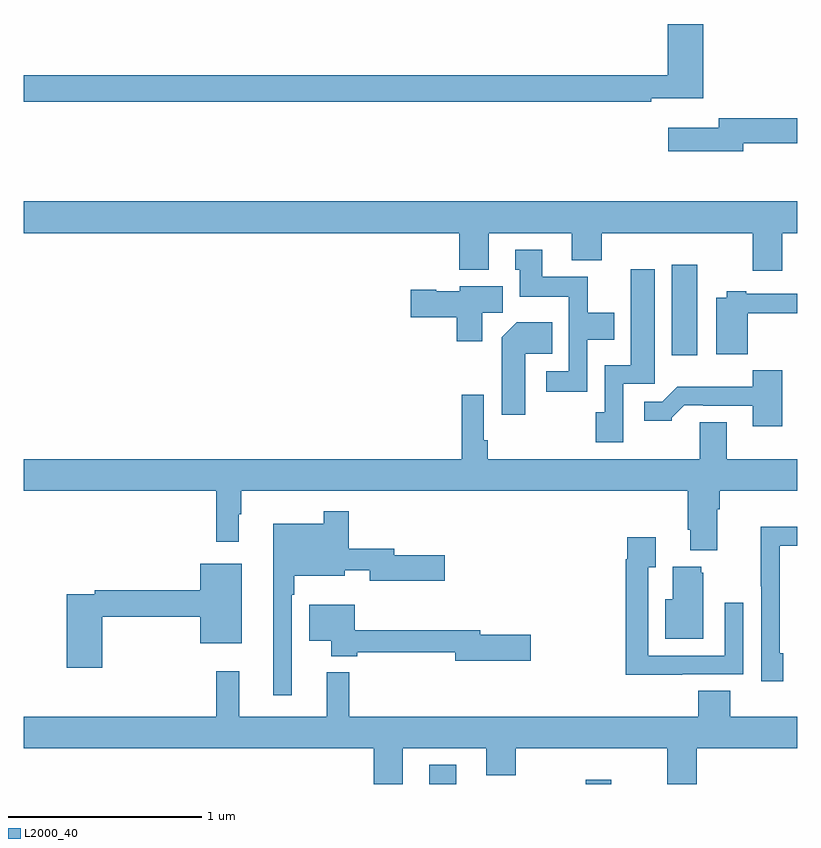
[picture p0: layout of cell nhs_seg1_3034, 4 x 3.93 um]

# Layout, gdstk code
import gdstk
lib = gdstk.Library(unit=1e-6, precision=1e-09)
def R(c, l, rs):  # rectangles x0, y0, x1, y1
    for r in rs: c.add(gdstk.rectangle(r[:2], r[2:], *l))
def P(c, l, *ps):  # polygons
    for p in ps: c.add(gdstk.Polygon(p, *l))
L2000_40 = (2000, 40)

nhs_seg1_3034 = lib.new_cell('nhs_seg1_3034')
R(nhs_seg1_3034, L2000_40, [(277.097,566.199,277.237,566.299), (277.907,566.199,278.038,566.221), (278.351,568.416,278.482,568.885)])
P(nhs_seg1_3034, L2000_40, [(278.246,569.747),(278.513,569.747),(278.513,570.13),(278.33,570.13),(278.33,569.864),(275,569.864),(275,569.728),(278.246,569.728)],
  [(278.722,569.514),(279,569.514),(279,569.642),(278.594,569.642),(278.594,569.593),(278.334,569.593),(278.334,569.471),(278.722,569.471)],
  [(278.924,569.048),(279,569.048),(279,569.212),(275,569.212),(275,569.048),(277.253,569.048),(277.253,568.859),(277.405,568.859),(277.405,569.048),(277.835,569.048),(277.835,568.907),(277.988,568.907),(277.988,569.048),(278.771,569.048),(278.771,568.854),(278.924,568.854)],
  [(277.914,568.496),(278.053,568.496),(278.053,568.636),(277.917,568.636),(277.917,568.822),(277.681,568.822),(277.681,568.963),(277.541,568.963),(277.541,568.86),(277.565,568.86),(277.565,568.718),(277.818,568.718),(277.818,568.335),(277.701,568.335),(277.701,568.227),(277.914,568.227)],
  [(278.1,568.269),(278.263,568.269),(278.263,568.861),(278.138,568.861),(278.138,568.366),(278.004,568.366),(278.004,568.122),(277.957,568.122),(277.957,567.966),(278.1,567.966)],
  [(277.372,568.636),(277.477,568.636),(277.477,568.774),(277.254,568.774),(277.254,568.747),(277.134,568.747),(277.134,568.755),(277.002,568.755),(277.002,568.613),(277.238,568.613),(277.238,568.488),(277.372,568.488)],
  [(278.744,568.633),(279,568.633),(279,568.734),(278.737,568.734),(278.737,568.747),(278.637,568.747),(278.637,568.714),(278.582,568.714),(278.582,568.421),(278.744,568.421)],
  [(277.594,568.424),(277.733,568.424),(277.733,568.588),(277.55,568.588),(277.472,568.51),(277.472,568.11),(277.594,568.11)],
  [(278.924,568.339),(278.769,568.339),(278.769,568.255),(278.38,568.255),(278.301,568.176),(278.208,568.176),(278.208,568.079),(278.352,568.079),(278.352,568.094),(278.416,568.158),(278.515,568.158),(278.515,568.155),(278.771,568.155),(278.771,568.05),(278.924,568.05)],
  [(278.587,567.62),(278.6,567.62),(278.6,567.716),(279,567.716),(279,567.88),(278.635,567.88),(278.635,568.07),(278.495,568.07),(278.495,567.88),(277.4,567.88),(277.4,567.976),(277.38,567.976),(277.38,568.213),(277.264,568.213),(277.264,567.88),(275,567.88),(275,567.716),(275.995,567.716),(275.995,567.453),(276.112,567.453),(276.112,567.593),(276.124,567.593),(276.124,567.716),(278.435,567.716),(278.435,567.514),(278.447,567.514),(278.447,567.407),(278.587,567.407)],
  [(276.387,567.179),(276.4,567.179),(276.4,567.275),(276.661,567.275),(276.661,567.305),(276.788,567.305),(276.788,567.251),(277.177,567.251),(277.177,567.381),(276.916,567.381),(276.916,567.415),(276.68,567.415),(276.68,567.61),(276.552,567.61),(276.552,567.544),(276.29,567.544),(276.29,566.658),(276.387,566.658)],
  [(278.929,566.874),(278.91,566.874),(278.91,567.432),(279,567.432),(279,567.53),(278.812,567.53),(278.812,567.223),(278.814,567.223),(278.814,566.73),(278.929,566.73)],
  [(278.405,566.766),(278.721,566.766),(278.721,567.136),(278.625,567.136),(278.625,566.862),(278.229,566.862),(278.229,567.319),(278.269,567.319),(278.269,567.475),(278.121,567.475),(278.121,567.362),(278.113,567.362),(278.113,566.765),(278.405,566.765)],
  [(275.405,567.064),(275.912,567.064),(275.912,566.927),(276.127,566.927),(276.127,567.337),(275.912,567.337),(275.912,567.2),(275.368,567.2),(275.368,567.18),(275.222,567.18),(275.222,566.799),(275.405,566.799)],
  [(278.515,567.291),(278.504,567.291),(278.504,567.322),(278.357,567.322),(278.357,567.154),(278.318,567.154),(278.318,566.951),(278.515,566.951)],
  [(277.621,566.972),(277.36,566.972),(277.36,566.993),(276.712,566.993),(276.712,567.127),(276.476,567.127),(276.476,566.939),(276.59,566.939),(276.59,566.861),(276.725,566.861),(276.725,566.88),(277.232,566.88),(277.232,566.837),(277.621,566.837)],
  [(276.961,566.384),(277.391,566.384),(277.391,566.243),(277.544,566.243),(277.544,566.384),(278.327,566.384),(278.327,566.199),(278.48,566.199),(278.48,566.384),(279,566.384),(279,566.548),(278.654,566.548),(278.654,566.681),(278.489,566.681),(278.489,566.548),(276.683,566.548),(276.683,566.776),(276.566,566.776),(276.566,566.548),(276.113,566.548),(276.113,566.782),(275.995,566.782),(275.995,566.548),(275,566.548),(275,566.384),(276.809,566.384),(276.809,566.199),(276.961,566.199)])

lib.write_gds('nhs_seg1_3034.gds')
